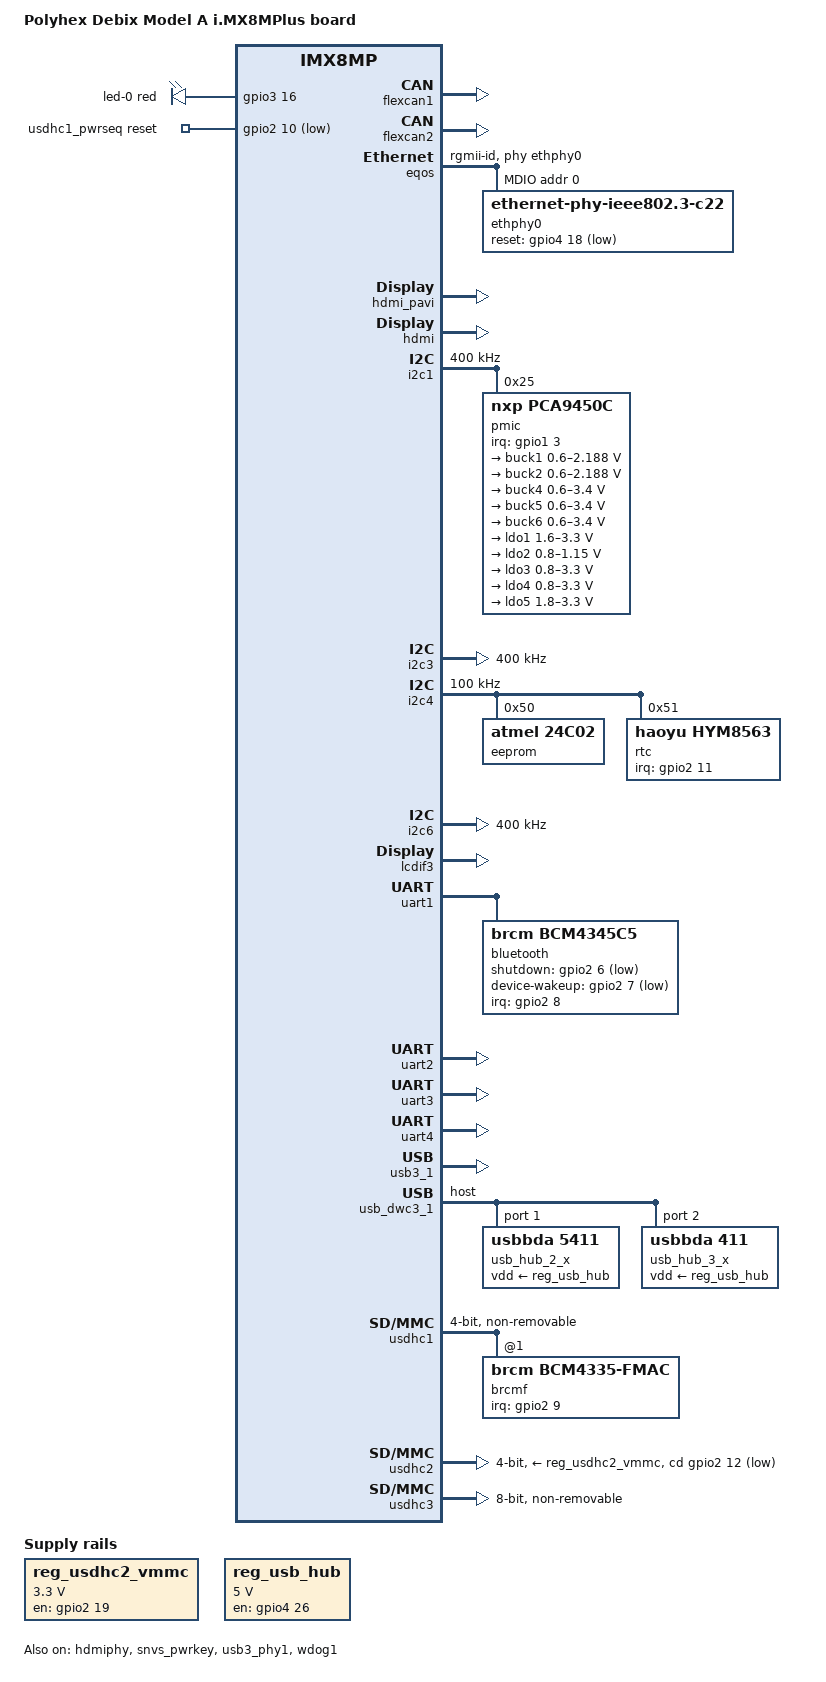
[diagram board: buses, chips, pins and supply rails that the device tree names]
// SPDX-License-Identifier: (GPL-2.0+ OR MIT)
/*
 * Copyright 2019 NXP
 * Copyright 2022 Ideas on Board Oy
 */

/dts-v1/;

#include <dt-bindings/gpio/gpio.h>
#include <dt-bindings/leds/common.h>
#include <dt-bindings/usb/pd.h>

#include "imx8mp.dtsi"

/ {
	model = "Polyhex Debix Model A i.MX8MPlus board";
	compatible = "polyhex,imx8mp-debix-model-a", "polyhex,imx8mp-debix", "fsl,imx8mp";

	chosen {
		stdout-path = &uart2;
	};
	leds {
		compatible = "gpio-leds";
		pinctrl-names = "default";
		pinctrl-0 = <&pinctrl_gpio_led>;

		led-0 {
			function = LED_FUNCTION_POWER;
			color = <LED_COLOR_ID_RED>;
			gpios = <&gpio3 16 GPIO_ACTIVE_HIGH>;
			default-state = "on";
		};
	};

	reg_usdhc2_vmmc: regulator-usdhc2 {
		compatible = "regulator-fixed";
		pinctrl-names = "default";
		pinctrl-0 = <&pinctrl_reg_usdhc2_vmmc>;
		regulator-name = "VSD_3V3";
		regulator-min-microvolt = <3300000>;
		regulator-max-microvolt = <3300000>;
		gpio = <&gpio2 19 GPIO_ACTIVE_HIGH>;
		enable-active-high;
	};

	reg_usb_hub: regulator-usb-hub {
		compatible = "regulator-fixed";
		pinctrl-names = "default";
		pinctrl-0 = <&pinctrl_reg_usb_hub>;
		regulator-name = "USB_HUB";
		regulator-min-microvolt = <5000000>;
		regulator-max-microvolt = <5000000>;
		gpio = <&gpio4 26 GPIO_ACTIVE_HIGH>;
		enable-active-high;
	};

	/* Onboard WiFi/BT combo: WL_REG_ON power sequencing for usdhc1 */
	usdhc1_pwrseq: usdhc1_pwrseq {
		compatible = "mmc-pwrseq-simple";
		pinctrl-names = "default";
		pinctrl-0 = <&pinctrl_wlan_reg_on>;
		reset-gpios = <&gpio2 10 GPIO_ACTIVE_LOW>;
	};

	reserved-memory {
		#address-cells = <2>;
		#size-cells = <2>;
		ranges;

		vdev0vring0: vdev0vring0@55000000 {
			reg = <0 0x55000000 0 0x8000>;
			no-map;
		};

		vdev0vring1: vdev0vring1@55008000 {
			reg = <0 0x55008000 0 0x8000>;
			no-map;
		};

		vdevbuffer: vdevbuffer@55400000 {
			compatible = "shared-dma-pool";
			reg = <0 0x55400000 0 0x100000>;
			no-map;
		};

		rsc_table: rsc-table@550ff000 {
			reg = <0 0x550ff000 0 0x1000>;
			no-map;
		};
	};

	imx8mp-cm7 {
		compatible = "fsl,imx8mn-cm7";
		rsc-da = <0x55000000>;
		clocks = <&clk IMX8MP_CLK_M7_DIV>,
			 <&audio_blk_ctrl IMX8MP_CLK_AUDIOMIX_AUDPLL_ROOT>;
		clock-names = "core", "audio";
		mbox-names = "tx", "rx", "rxdb";
		mboxes = <&mu 0 1>, <&mu 1 1>, <&mu 3 1>;
		memory-region = <&vdevbuffer>, <&vdev0vring0>,
				<&vdev0vring1>, <&rsc_table>;
		status = "okay";
	};
};

&A53_0 {
	cpu-supply = <&buck2>;
};

&A53_1 {
	cpu-supply = <&buck2>;
};

&A53_2 {
	cpu-supply = <&buck2>;
};

&A53_3 {
	cpu-supply = <&buck2>;
};

/* BMB-08 I/O baseboard */
&flexcan1 {
	pinctrl-names = "default";
	pinctrl-0 = <&pinctrl_flexcan1>;
	status = "okay";
};

/* BMB-08 I/O baseboard */
&flexcan2 {
	pinctrl-names = "default";
	pinctrl-0 = <&pinctrl_flexcan2>;
	status = "okay";
};

&eqos {
	pinctrl-names = "default";
	pinctrl-0 = <&pinctrl_eqos>;
	phy-mode = "rgmii-id";
	phy-handle = <&ethphy0>;
	status = "okay";

	mdio {
		compatible = "snps,dwmac-mdio";
		#address-cells = <1>;
		#size-cells = <0>;

		ethphy0: ethernet-phy@0 { /* RTL8211E */
			compatible = "ethernet-phy-ieee802.3-c22";
			reg = <0>;
			reset-gpios = <&gpio4 18 GPIO_ACTIVE_LOW>;
			reset-assert-us = <20>;
			reset-deassert-us = <200000>;
		};
	};
};

/* Renamed from hdmi_pvi to match the hdmi-pai-pvi label in this kernel's imx8mp.dtsi */
&hdmi_pavi {
	status = "okay";
};

/* Renamed from hdmi_tx to match the hdmi label in this kernel's imx8mp.dtsi */
&hdmi {
	pinctrl-names = "default";
	pinctrl-0 = <&pinctrl_hdmi>;
	status = "okay";
};

/* Renamed from hdmi_tx_phy to match the hdmiphy label in this kernel's imx8mp.dtsi */
&hdmiphy {
	status = "okay";
};

&i2c1 {
	clock-frequency = <400000>;
	pinctrl-names = "default";
	pinctrl-0 = <&pinctrl_i2c1>;
	status = "okay";

	pmic@25 {
		compatible = "nxp,pca9450c";
		reg = <0x25>;
		pinctrl-names = "default";
		pinctrl-0 = <&pinctrl_pmic>;
		interrupt-parent = <&gpio1>;
		interrupts = <3 IRQ_TYPE_EDGE_RISING>;

		regulators {
			buck1: BUCK1 {
				regulator-name = "BUCK1";
				regulator-min-microvolt = <600000>;
				regulator-max-microvolt = <2187500>;
				regulator-boot-on;
				regulator-always-on;
				regulator-ramp-delay = <3125>;
			};

			buck2: BUCK2 {
				regulator-name = "BUCK2";
				regulator-min-microvolt = <600000>;
				regulator-max-microvolt = <2187500>;
				regulator-boot-on;
				regulator-always-on;
				regulator-ramp-delay = <3125>;
				nxp,dvs-run-voltage = <950000>;
				nxp,dvs-standby-voltage = <850000>;
			};

			buck4: BUCK4 {
				regulator-name = "BUCK4";
				regulator-min-microvolt = <600000>;
				regulator-max-microvolt = <3400000>;
				regulator-boot-on;
				regulator-always-on;
			};

			buck5: BUCK5 {
				regulator-name = "BUCK5";
				regulator-min-microvolt = <600000>;
				regulator-max-microvolt = <3400000>;
				regulator-boot-on;
				regulator-always-on;
			};

			buck6: BUCK6 {
				regulator-name = "BUCK6";
				regulator-min-microvolt = <600000>;
				regulator-max-microvolt = <3400000>;
				regulator-boot-on;
				regulator-always-on;
			};

			ldo1: LDO1 {
				regulator-name = "LDO1";
				regulator-min-microvolt = <1600000>;
				regulator-max-microvolt = <3300000>;
				regulator-boot-on;
				regulator-always-on;
			};

			ldo2: LDO2 {
				regulator-name = "LDO2";
				regulator-min-microvolt = <800000>;
				regulator-max-microvolt = <1150000>;
				regulator-boot-on;
				regulator-always-on;
			};

			ldo3: LDO3 {
				regulator-name = "LDO3";
				regulator-min-microvolt = <800000>;
				regulator-max-microvolt = <3300000>;
				regulator-boot-on;
				regulator-always-on;
			};

			ldo4: LDO4 {
				regulator-name = "LDO4";
				regulator-min-microvolt = <800000>;
				regulator-max-microvolt = <3300000>;
				regulator-boot-on;
				regulator-always-on;
			};

			ldo5: LDO5 {
				regulator-name = "LDO5";
				regulator-min-microvolt = <1800000>;
				regulator-max-microvolt = <3300000>;
				regulator-boot-on;
				regulator-always-on;
			};
		};
	};
};

&i2c2 {
	pinctrl-names = "default";
	pinctrl-0 = <&pinctrl_i2c2>;
};

&i2c3 {
	clock-frequency = <400000>;
	pinctrl-names = "default";
	pinctrl-0 = <&pinctrl_i2c3>;
	status = "okay";
};

&i2c4 {
	clock-frequency = <100000>;
	pinctrl-names = "default";
	pinctrl-0 = <&pinctrl_i2c4>;
	status = "okay";

	eeprom@50 {
		compatible = "atmel,24c02";
		reg = <0x50>;
		pagesize = <16>;
	};

	rtc@51 {
		compatible = "haoyu,hym8563";
		reg = <0x51>;
		#clock-cells = <0>;
		clock-output-names = "xin32k";
		interrupt-parent = <&gpio2>;
		interrupts = <11 IRQ_TYPE_EDGE_FALLING>;
		pinctrl-names = "default";
		pinctrl-0 = <&pinctrl_rtc_int>;
	};
};

&i2c6 {
	clock-frequency = <400000>;
	pinctrl-names = "default";
	pinctrl-0 = <&pinctrl_i2c6>;
	status = "okay";
};

&lcdif3 {
	status = "okay";
};

&snvs_pwrkey {
	status = "okay";
};

/* Onboard Bluetooth (BCM4345C5) */
&uart1 {
	pinctrl-names = "default";
	pinctrl-0 = <&pinctrl_uart1>, <&pinctrl_bt_ctrl>;
	assigned-clocks = <&clk IMX8MP_CLK_UART1>;
	assigned-clock-parents = <&clk IMX8MP_SYS_PLL1_80M>;
	fsl,uart-has-rtscts;
	status = "okay";

	bluetooth {
		compatible = "brcm,bcm4345c5";
		shutdown-gpios = <&gpio2 6 GPIO_ACTIVE_LOW>;
		device-wakeup-gpios = <&gpio2 7 GPIO_ACTIVE_LOW>;
		interrupt-parent = <&gpio2>;
		interrupts = <8 IRQ_TYPE_EDGE_FALLING>;
		status = "okay";
	};
};

&uart2 {
	/* console */
	pinctrl-names = "default";
	pinctrl-0 = <&pinctrl_uart2>;
	status = "okay";
};

&uart3 {
	pinctrl-names = "default";
	pinctrl-0 = <&pinctrl_uart3>;
	status = "okay";
};

&uart4 {
	pinctrl-names = "default";
	pinctrl-0 = <&pinctrl_uart4>;
	status = "okay";
};

&usb3_phy1 {
	status = "okay";
};

&usb3_1 {
	status = "okay";
};

&usb_dwc3_1 {
	#address-cells = <1>;
	#size-cells = <0>;
	pinctrl-names = "default";
	pinctrl-0 = <&pinctrl_usb1>;
	dr_mode = "host";
	status = "okay";

	/* 2.x hub on port 1 */
	usb_hub_2_x: hub@1 {
		compatible = "usbbda,5411";
		reg = <1>;
		vdd-supply = <&reg_usb_hub>;
		peer-hub = <&usb_hub_3_x>;
	};

	/* 3.x hub on port 2 */
	usb_hub_3_x: hub@2 {
		compatible = "usbbda,411";
		reg = <2>;
		vdd-supply = <&reg_usb_hub>;
		peer-hub = <&usb_hub_2_x>;
	};
};

/* Onboard WiFi (BCM4335) */
&usdhc1 {
	#address-cells = <1>;
	#size-cells = <0>;
	pinctrl-names = "default", "state_100mhz", "state_200mhz";
	pinctrl-0 = <&pinctrl_usdhc1>, <&pinctrl_wlan_wake_host>;
	pinctrl-1 = <&pinctrl_usdhc1_100mhz>, <&pinctrl_wlan_wake_host>;
	pinctrl-2 = <&pinctrl_usdhc1_200mhz>, <&pinctrl_wlan_wake_host>;
	bus-width = <4>;
	pm-ignore-notify;
	keep-power-in-suspend;
	non-removable;
	cap-power-off-card;
	mmc-pwrseq = <&usdhc1_pwrseq>;
	status = "okay";

	brcmf: bcrmf@1 {
		reg = <1>;
		compatible = "brcm,bcm4335-fmac";
		interrupt-parent = <&gpio2>;
		interrupts = <9 IRQ_TYPE_LEVEL_HIGH>; /* wlan wake host */
		interrupt-names = "host-wake";
	};
};

/* SD Card */
&usdhc2 {
	pinctrl-names = "default", "state_100mhz", "state_200mhz";
	pinctrl-0 = <&pinctrl_usdhc2>, <&pinctrl_usdhc2_gpio>;
	pinctrl-1 = <&pinctrl_usdhc2_100mhz>, <&pinctrl_usdhc2_gpio>;
	pinctrl-2 = <&pinctrl_usdhc2_200mhz>, <&pinctrl_usdhc2_gpio>;
	cd-gpios = <&gpio2 12 GPIO_ACTIVE_LOW>;
	vmmc-supply = <&reg_usdhc2_vmmc>;
	bus-width = <4>;
	status = "okay";
};
&usdhc3 {
	assigned-clocks = <&clk IMX8MP_CLK_USDHC3>;
	assigned-clock-rates = <400000000>;
	pinctrl-names = "default", "state_100mhz", "state_200mhz";
	pinctrl-0 = <&pinctrl_usdhc3>;
	pinctrl-1 = <&pinctrl_usdhc3_100mhz>;
	pinctrl-2 = <&pinctrl_usdhc3_200mhz>;
	bus-width = <8>;
	non-removable;
	status = "okay";
};

&wdog1 {
	pinctrl-names = "default";
	pinctrl-0 = <&pinctrl_wdog>;
	fsl,ext-reset-output;
	status = "okay";
};

&iomuxc {
	pinctrl_bt_ctrl: btctrlgrp {
		fsl,pins = <
			MX8MP_IOMUXC_SD1_DATA4__GPIO2_IO06			0x41
			MX8MP_IOMUXC_SD1_DATA5__GPIO2_IO07			0x41
			MX8MP_IOMUXC_SD1_DATA6__GPIO2_IO08			0x16
		>;
	};

	pinctrl_eqos: eqosgrp {
		fsl,pins = <
			MX8MP_IOMUXC_ENET_MDC__ENET_QOS_MDC				0x3
			MX8MP_IOMUXC_ENET_MDIO__ENET_QOS_MDIO				0x3
			MX8MP_IOMUXC_ENET_RD0__ENET_QOS_RGMII_RD0			0x91
			MX8MP_IOMUXC_ENET_RD1__ENET_QOS_RGMII_RD1			0x91
			MX8MP_IOMUXC_ENET_RD2__ENET_QOS_RGMII_RD2			0x91
			MX8MP_IOMUXC_ENET_RD3__ENET_QOS_RGMII_RD3			0x91
			MX8MP_IOMUXC_ENET_RXC__CCM_ENET_QOS_CLOCK_GENERATE_RX_CLK	0x91
			MX8MP_IOMUXC_ENET_RX_CTL__ENET_QOS_RGMII_RX_CTL			0x91
			MX8MP_IOMUXC_ENET_TD0__ENET_QOS_RGMII_TD0			0x1f
			MX8MP_IOMUXC_ENET_TD1__ENET_QOS_RGMII_TD1			0x1f
			MX8MP_IOMUXC_ENET_TD2__ENET_QOS_RGMII_TD2			0x1f
			MX8MP_IOMUXC_ENET_TD3__ENET_QOS_RGMII_TD3			0x1f
			MX8MP_IOMUXC_ENET_TX_CTL__ENET_QOS_RGMII_TX_CTL			0x1f
			MX8MP_IOMUXC_ENET_TXC__CCM_ENET_QOS_CLOCK_GENERATE_TX_CLK	0x1f
			MX8MP_IOMUXC_SAI1_RXFS__ENET1_1588_EVENT0_IN			0x1f
			MX8MP_IOMUXC_SAI1_RXC__ENET1_1588_EVENT0_OUT			0x1f
			MX8MP_IOMUXC_SAI1_TXD6__GPIO4_IO18				0x19
		>;
	};

	pinctrl_gpio_led: gpioledgrp {
		fsl,pins = <
			MX8MP_IOMUXC_NAND_READY_B__GPIO3_IO16				0x19
		>;
	};

	/* BMB-08 I/O baseboard */
	pinctrl_flexcan1: flexcan1grp {
		fsl,pins = <
			MX8MP_IOMUXC_SAI5_RXD2__CAN1_RX					0x154
			MX8MP_IOMUXC_SAI5_RXD1__CAN1_TX					0x154
		>;
	};

	/* BMB-08 I/O baseboard */
	pinctrl_flexcan2: flexcan2grp {
		fsl,pins = <
			MX8MP_IOMUXC_SAI5_MCLK__CAN2_RX					0x154
			MX8MP_IOMUXC_SAI5_RXD3__CAN2_TX					0x154
		>;
	};

	pinctrl_hdmi: hdmigrp {
		fsl,pins = <
			MX8MP_IOMUXC_HDMI_DDC_SCL__HDMIMIX_HDMI_SCL			0x1c3
			MX8MP_IOMUXC_HDMI_DDC_SDA__HDMIMIX_HDMI_SDA			0x1c3
			MX8MP_IOMUXC_HDMI_HPD__HDMIMIX_HDMI_HPD				0x19
			MX8MP_IOMUXC_HDMI_CEC__HDMIMIX_HDMI_CEC				0x19
		>;
	};

	pinctrl_i2c1: i2c1grp {
		fsl,pins = <
			MX8MP_IOMUXC_I2C1_SCL__I2C1_SCL					0x400001c2
			MX8MP_IOMUXC_I2C1_SDA__I2C1_SDA					0x400001c2
		>;
	};

	pinctrl_i2c2: i2c2grp {
		fsl,pins = <
			MX8MP_IOMUXC_I2C2_SCL__I2C2_SCL					0x400001c2
			MX8MP_IOMUXC_I2C2_SDA__I2C2_SDA					0x400001c2
		>;
	};

	pinctrl_i2c3: i2c3grp {
		fsl,pins = <
			MX8MP_IOMUXC_I2C3_SCL__I2C3_SCL					0x400001c2
			MX8MP_IOMUXC_I2C3_SDA__I2C3_SDA					0x400001c2
		>;
	};

	pinctrl_i2c4: i2c4grp {
		fsl,pins = <
			MX8MP_IOMUXC_I2C4_SCL__I2C4_SCL					0x400001c3
			MX8MP_IOMUXC_I2C4_SDA__I2C4_SDA					0x400001c3
		>;
	};

	pinctrl_i2c6: i2c6grp {
		fsl,pins = <
			MX8MP_IOMUXC_SAI5_RXFS__I2C6_SCL				0x400001c3
			MX8MP_IOMUXC_SAI5_RXC__I2C6_SDA					0x400001c3
		>;
	};

	pinctrl_pmic: pmicirqgrp {
		fsl,pins = <
			MX8MP_IOMUXC_GPIO1_IO03__GPIO1_IO03				0x41
		>;
	};

	pinctrl_reg_usdhc2_vmmc: regusdhc2vmmcgrp {
		fsl,pins = <
			MX8MP_IOMUXC_SD2_RESET_B__GPIO2_IO19				0x41
		>;
	};

	pinctrl_reg_usb_hub: regusbhubgrp {
		fsl,pins = <
			MX8MP_IOMUXC_SAI2_TXD0__GPIO4_IO26				0x19
		>;
	};

	pinctrl_rtc_int: rtcintgrp {
		fsl,pins = <
			MX8MP_IOMUXC_SD1_STROBE__GPIO2_IO11				0x140
		>;
	};

	pinctrl_uart1: uart1grp {
		fsl,pins = <
			MX8MP_IOMUXC_UART1_RXD__UART1_DCE_RX				0x140
			MX8MP_IOMUXC_UART1_TXD__UART1_DCE_TX				0x140
			MX8MP_IOMUXC_SAI2_TXFS__UART1_DCE_CTS				0x140
			MX8MP_IOMUXC_SAI2_RXD0__UART1_DCE_RTS				0x140
		>;
	};

	pinctrl_uart2: uart2grp {
		fsl,pins = <
			MX8MP_IOMUXC_UART2_RXD__UART2_DCE_RX				0x14f
			MX8MP_IOMUXC_UART2_TXD__UART2_DCE_TX				0x14f
		>;
	};

	pinctrl_uart3: uart3grp {
		fsl,pins = <
			MX8MP_IOMUXC_UART3_RXD__UART3_DCE_RX				0x49
			MX8MP_IOMUXC_UART3_TXD__UART3_DCE_TX				0x49
		>;
	};

	pinctrl_uart4: uart4grp {
		fsl,pins = <
			MX8MP_IOMUXC_UART4_RXD__UART4_DCE_RX				0x49
			MX8MP_IOMUXC_UART4_TXD__UART4_DCE_TX				0x49
		>;
	};

	pinctrl_usb1: usb1grp {
		fsl,pins = <
			MX8MP_IOMUXC_GPIO1_IO14__USB2_PWR				0x10
		>;
	};

	pinctrl_usdhc1: usdhc1grp {
		fsl,pins = <
			MX8MP_IOMUXC_SD1_CLK__USDHC1_CLK			0x190
			MX8MP_IOMUXC_SD1_CMD__USDHC1_CMD			0x1d0
			MX8MP_IOMUXC_SD1_DATA0__USDHC1_DATA0			0x1d0
			MX8MP_IOMUXC_SD1_DATA1__USDHC1_DATA1			0x1d0
			MX8MP_IOMUXC_SD1_DATA2__USDHC1_DATA2			0x1d0
			MX8MP_IOMUXC_SD1_DATA3__USDHC1_DATA3			0x1d0
		>;
	};

	pinctrl_usdhc1_100mhz: usdhc1grp100mhz {
		fsl,pins = <
			MX8MP_IOMUXC_SD1_CLK__USDHC1_CLK			0x194
			MX8MP_IOMUXC_SD1_CMD__USDHC1_CMD			0x1d4
			MX8MP_IOMUXC_SD1_DATA0__USDHC1_DATA0			0x1d4
			MX8MP_IOMUXC_SD1_DATA1__USDHC1_DATA1			0x1d4
			MX8MP_IOMUXC_SD1_DATA2__USDHC1_DATA2			0x1d4
			MX8MP_IOMUXC_SD1_DATA3__USDHC1_DATA3			0x1d4
		>;
	};

	pinctrl_usdhc1_200mhz: usdhc1grp200mhz {
		fsl,pins = <
			MX8MP_IOMUXC_SD1_CLK__USDHC1_CLK			0x196
			MX8MP_IOMUXC_SD1_CMD__USDHC1_CMD			0x1d6
			MX8MP_IOMUXC_SD1_DATA0__USDHC1_DATA0			0x1d6
			MX8MP_IOMUXC_SD1_DATA1__USDHC1_DATA1			0x1d6
			MX8MP_IOMUXC_SD1_DATA2__USDHC1_DATA2			0x1d6
			MX8MP_IOMUXC_SD1_DATA3__USDHC1_DATA3			0x1d6
		>;
	};

	pinctrl_usdhc2: usdhc2grp {
		fsl,pins = <
			MX8MP_IOMUXC_SD2_CLK__USDHC2_CLK				0x190
			MX8MP_IOMUXC_SD2_CMD__USDHC2_CMD				0x1d0
			MX8MP_IOMUXC_SD2_DATA0__USDHC2_DATA0				0x1d0
			MX8MP_IOMUXC_SD2_DATA1__USDHC2_DATA1				0x1d0
			MX8MP_IOMUXC_SD2_DATA2__USDHC2_DATA2				0x1d0
			MX8MP_IOMUXC_SD2_DATA3__USDHC2_DATA3				0x1d0
		>;
	};

	pinctrl_usdhc2_100mhz: usdhc2-100mhzgrp {
		fsl,pins = <
			MX8MP_IOMUXC_SD2_CLK__USDHC2_CLK				0x194
			MX8MP_IOMUXC_SD2_CMD__USDHC2_CMD				0x1d4
			MX8MP_IOMUXC_SD2_DATA0__USDHC2_DATA0				0x1d4
			MX8MP_IOMUXC_SD2_DATA1__USDHC2_DATA1				0x1d4
			MX8MP_IOMUXC_SD2_DATA2__USDHC2_DATA2				0x1d4
			MX8MP_IOMUXC_SD2_DATA3__USDHC2_DATA3				0x1d4
		>;
	};

	pinctrl_usdhc2_200mhz: usdhc2-200mhzgrp {
		fsl,pins = <
			MX8MP_IOMUXC_SD2_CLK__USDHC2_CLK				0x196
			MX8MP_IOMUXC_SD2_CMD__USDHC2_CMD				0x1d6
			MX8MP_IOMUXC_SD2_DATA0__USDHC2_DATA0				0x1d6
			MX8MP_IOMUXC_SD2_DATA1__USDHC2_DATA1				0x1d6
			MX8MP_IOMUXC_SD2_DATA2__USDHC2_DATA2				0x1d6
			MX8MP_IOMUXC_SD2_DATA3__USDHC2_DATA3				0x1d6
		>;
	};

	pinctrl_usdhc2_gpio: usdhc2gpiogrp {
		fsl,pins = <
			MX8MP_IOMUXC_SD2_CD_B__GPIO2_IO12				0x1c4
		>;
	};

	pinctrl_usdhc3: usdhc3grp {
		fsl,pins = <
			MX8MP_IOMUXC_NAND_WE_B__USDHC3_CLK				0x190
			MX8MP_IOMUXC_NAND_WP_B__USDHC3_CMD				0x1d0
			MX8MP_IOMUXC_NAND_DATA04__USDHC3_DATA0				0x1d0
			MX8MP_IOMUXC_NAND_DATA05__USDHC3_DATA1				0x1d0
			MX8MP_IOMUXC_NAND_DATA06__USDHC3_DATA2				0x1d0
			MX8MP_IOMUXC_NAND_DATA07__USDHC3_DATA3				0x1d0
			MX8MP_IOMUXC_NAND_RE_B__USDHC3_DATA4				0x1d0
			MX8MP_IOMUXC_NAND_CE2_B__USDHC3_DATA5				0x1d0
			MX8MP_IOMUXC_NAND_CE3_B__USDHC3_DATA6				0x1d0
			MX8MP_IOMUXC_NAND_CLE__USDHC3_DATA7				0x1d0
			MX8MP_IOMUXC_NAND_CE1_B__USDHC3_STROBE				0x190
		>;
	};

	pinctrl_usdhc3_100mhz: usdhc3-100mhzgrp {
		fsl,pins = <
			MX8MP_IOMUXC_NAND_WE_B__USDHC3_CLK				0x194
			MX8MP_IOMUXC_NAND_WP_B__USDHC3_CMD				0x1d4
			MX8MP_IOMUXC_NAND_DATA04__USDHC3_DATA0				0x1d4
			MX8MP_IOMUXC_NAND_DATA05__USDHC3_DATA1				0x1d4
			MX8MP_IOMUXC_NAND_DATA06__USDHC3_DATA2				0x1d4
			MX8MP_IOMUXC_NAND_DATA07__USDHC3_DATA3				0x1d4
			MX8MP_IOMUXC_NAND_RE_B__USDHC3_DATA4				0x1d4
			MX8MP_IOMUXC_NAND_CE2_B__USDHC3_DATA5				0x1d4
			MX8MP_IOMUXC_NAND_CE3_B__USDHC3_DATA6				0x1d4
			MX8MP_IOMUXC_NAND_CLE__USDHC3_DATA7				0x1d4
			MX8MP_IOMUXC_NAND_CE1_B__USDHC3_STROBE				0x194
		>;
	};

	pinctrl_usdhc3_200mhz: usdhc3-200mhzgrp {
		fsl,pins = <
			MX8MP_IOMUXC_NAND_WE_B__USDHC3_CLK				0x196
			MX8MP_IOMUXC_NAND_WP_B__USDHC3_CMD				0x1d6
			MX8MP_IOMUXC_NAND_DATA04__USDHC3_DATA0				0x1d6
			MX8MP_IOMUXC_NAND_DATA05__USDHC3_DATA1				0x1d6
			MX8MP_IOMUXC_NAND_DATA06__USDHC3_DATA2				0x1d6
			MX8MP_IOMUXC_NAND_DATA07__USDHC3_DATA3				0x1d6
			MX8MP_IOMUXC_NAND_RE_B__USDHC3_DATA4				0x1d6
			MX8MP_IOMUXC_NAND_CE2_B__USDHC3_DATA5				0x1d6
			MX8MP_IOMUXC_NAND_CE3_B__USDHC3_DATA6				0x1d6
			MX8MP_IOMUXC_NAND_CLE__USDHC3_DATA7				0x1d6
			MX8MP_IOMUXC_NAND_CE1_B__USDHC3_STROBE				0x196
		>;
	};

	/* WL_REG_ON */
	pinctrl_wlan_reg_on: wlanregongrp {
		fsl,pins = <
			MX8MP_IOMUXC_SD1_RESET_B__GPIO2_IO10			0x41
		>;
	};

	pinctrl_wlan_wake_host: wlanwakehostgrp {
		fsl,pins = <
			MX8MP_IOMUXC_GPIO1_IO00__ANAMIX_REF_CLK_32K		0x141
			MX8MP_IOMUXC_SD1_DATA7__GPIO2_IO09			0x111 /* WL_WAKE_HOST */
		>;
	};

	pinctrl_wdog: wdoggrp {
		fsl,pins = <
			MX8MP_IOMUXC_GPIO1_IO02__WDOG1_WDOG_B				0xc6
		>;
	};
};
